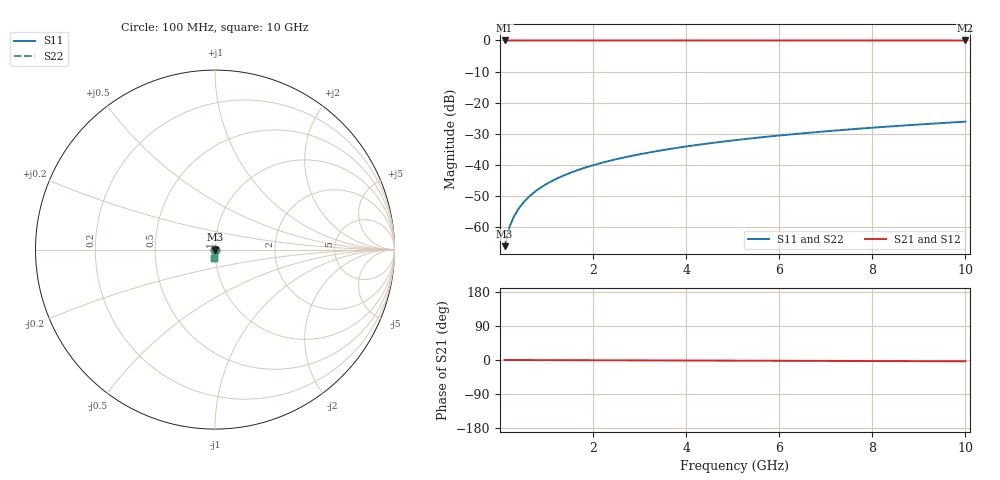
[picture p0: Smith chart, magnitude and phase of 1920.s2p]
# Hz S RI R 50.00
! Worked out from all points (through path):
!   100 points, 100 MHz to 10 GHz, reference 50 ohm
!   highest |S21| = 0.00 dB at 100 MHz (marker M1); lowest = 0.0 dB at 10 GHz (marker M2)
!   lowest |S11| = -66.1 dB at 100 MHz (marker M3), VSWR 1.00, Z = 50 - j0.0494 ohm
!   |S11| at or under -10 dB: start of sweep to end of sweep
!   |S22| runs from -66.1 to -26.1 dB; largest |S21 - S12| = 0
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1e8  3.44e-05 -0.000494  1 -0.000593  1 -0.000593  3.44e-05 -0.000494
2e8  3.32e-05 -0.000988  1 -0.00119  1 -0.00119  3.32e-05 -0.000988
3e8  3.14e-05 -0.00148  1 -0.00178  1 -0.00178  3.14e-05 -0.00148
4e8  2.9e-05 -0.00198  1 -0.00237  1 -0.00237  2.9e-05 -0.00198
5e8  2.59e-05 -0.00247  1 -0.00296  1 -0.00296  2.59e-05 -0.00247
6e8  2.23e-05 -0.00296  0.9999 -0.00356  0.9999 -0.00356  2.23e-05 -0.00296
7e8  1.81e-05 -0.00346  0.9999 -0.00415  0.9999 -0.00415  1.81e-05 -0.00346
8e8  1.32e-05 -0.00395  0.9999 -0.00474  0.9999 -0.00474  1.32e-05 -0.00395
9e8  7.83e-06 -0.00444  0.9999 -0.00534  0.9999 -0.00534  7.83e-06 -0.00444
1.1e9  -4.78e-06 -0.00543  0.9999 -0.00652  0.9999 -0.00652  -4.78e-06 -0.00543
1.4e9  -2.81e-05 -0.00691  0.9999 -0.0083  0.9999 -0.0083  -2.81e-05 -0.00691
1.8e9  -6.75e-05 -0.00889  0.9999 -0.0107  0.9999 -0.0107  -6.75e-05 -0.00889
2.1e9  -0.000103 -0.0104  0.9998 -0.0125  0.9998 -0.0125  -0.000103 -0.0104
2.5e9  -0.000159 -0.0124  0.9998 -0.0148  0.9998 -0.0148  -0.000159 -0.0124
2.9e9  -0.000224 -0.0143  0.9997 -0.0172  0.9997 -0.0172  -0.000224 -0.0143
3.4e9  -0.000319 -0.0168  0.9996 -0.0202  0.9996 -0.0202  -0.000319 -0.0168
4.2e9  -0.000502 -0.0208  0.9994 -0.0249  0.9994 -0.0249  -0.000502 -0.0208
5.1e9  -0.000752 -0.0252  0.9992 -0.0303  0.9992 -0.0303  -0.000752 -0.0252
5.9e9  -0.00102 -0.0292  0.9989 -0.035  0.9989 -0.035  -0.00102 -0.0292
6.7e9  -0.00132 -0.0331  0.9986 -0.0398  0.9986 -0.0398  -0.00132 -0.0331
8.4e9  -0.00208 -0.0416  0.9978 -0.0499  0.9978 -0.0499  -0.00208 -0.0416
1e10  -0.00296 -0.0495  0.9969 -0.0594  0.9969 -0.0594  -0.00296 -0.0495
